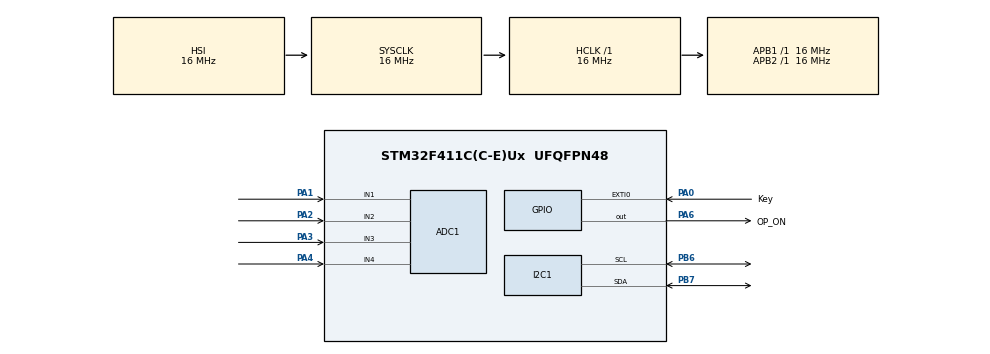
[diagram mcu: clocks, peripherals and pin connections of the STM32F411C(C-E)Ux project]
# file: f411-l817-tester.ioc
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ADC1.Channel-0\#ChannelRegularConversion=ADC_CHANNEL_1
ADC1.Channel-1\#ChannelRegularConversion=ADC_CHANNEL_2
ADC1.Channel-2\#ChannelRegularConversion=ADC_CHANNEL_3
ADC1.Channel-3\#ChannelRegularConversion=ADC_CHANNEL_4
ADC1.ContinuousConvMode=DISABLE
ADC1.DMAContinuousRequests=ENABLE
ADC1.ExternalTrigConv=ADC_EXTERNALTRIGCONV_T2_TRGO
ADC1.NbrOfConversion=4
ADC1.NbrOfConversionFlag=1
ADC1.Rank-0\#ChannelRegularConversion=1
ADC1.Rank-1\#ChannelRegularConversion=2
ADC1.Rank-2\#ChannelRegularConversion=3
ADC1.Rank-3\#ChannelRegularConversion=4
ADC1.SamplingTime-0\#ChannelRegularConversion=ADC_SAMPLETIME_56CYCLES
ADC1.SamplingTime-1\#ChannelRegularConversion=ADC_SAMPLETIME_56CYCLES
ADC1.SamplingTime-2\#ChannelRegularConversion=ADC_SAMPLETIME_56CYCLES
ADC1.SamplingTime-3\#ChannelRegularConversion=ADC_SAMPLETIME_56CYCLES
ADC1.master=1
Dma.ADC1.0.Direction=DMA_PERIPH_TO_MEMORY
Dma.ADC1.0.FIFOMode=DMA_FIFOMODE_DISABLE
Dma.ADC1.0.Instance=DMA2_Stream0
Dma.ADC1.0.MemDataAlignment=DMA_MDATAALIGN_HALFWORD
Dma.ADC1.0.MemInc=DMA_MINC_ENABLE
Dma.ADC1.0.Mode=DMA_CIRCULAR
Dma.ADC1.0.PeriphDataAlignment=DMA_PDATAALIGN_HALFWORD
Dma.ADC1.0.PeriphInc=DMA_PINC_DISABLE
Dma.ADC1.0.Priority=DMA_PRIORITY_LOW
Dma.Request0=ADC1
Mcu.Family=STM32F4
Mcu.Name=STM32F411C(C-E)Ux
Mcu.Package=UFQFPN48
NVIC.DMA2_Stream0_IRQn=true\:0\:0\:false\:false\:true\:false\:true\:true
NVIC.EXTI0_IRQn=true\:0\:0\:false\:false\:true\:true\:true\:true
NVIC.PriorityGroup=NVIC_PRIORITYGROUP_4
PA0-WKUP.GPIO_Label=Key
PA0-WKUP.GPIO_ModeDefaultEXTI=GPIO_MODE_IT_FALLING
PA0-WKUP.GPIO_PuPd=GPIO_PULLUP
PA0-WKUP.Signal=GPXTI0
PA1.Signal=ADCx_IN1
PA2.Signal=ADCx_IN2
PA3.Signal=ADCx_IN3
PA4.Signal=ADCx_IN4
PA6.GPIO_Label=OP_ON
PA6.Signal=GPIO_Output
PB6.Mode=I2C
PB6.Signal=I2C1_SCL
PB7.Mode=I2C
PB7.Signal=I2C1_SDA
PB8.GPIO_Label=PWM
PB8.Signal=S_TIM10_CH1
PC14-OSC32_IN.Mode=LSE-External-Oscillator
PC14-OSC32_IN.Signal=RCC_OSC32_IN
PC15-OSC32_OUT.Mode=LSE-External-Oscillator
PC15-OSC32_OUT.Signal=RCC_OSC32_OUT
PH0\ -\ OSC_IN.Mode=HSE-External-Oscillator
PH0\ -\ OSC_IN.Signal=RCC_OSC_IN
PH1\ -\ OSC_OUT.Mode=HSE-External-Oscillator
PH1\ -\ OSC_OUT.Signal=RCC_OSC_OUT
ProjectManager.HeapSize=0x200
ProjectManager.StackSize=0x400
ProjectManager.TargetToolchain=STM32CubeIDE
RCC.48MHZClocksFreq_Value=48000000
RCC.AHBFreq_Value=16000000
RCC.APB1Freq_Value=16000000
RCC.APB2Freq_Value=16000000
RCC.CortexFreq_Value=16000000
RCC.HSE_VALUE=25000000
RCC.HSI_VALUE=16000000
RCC.PLLM=15
RCC.PLLN=144
RCC.PLLQ=5
RCC.PLLSourceVirtual=RCC_PLLSOURCE_HSE
RCC.SYSCLKFreq_VALUE=16000000
RCC.VCOOutputFreq_Value=240000000
SH.ADCx_IN1.0=ADC1_IN1,IN1
SH.ADCx_IN2.0=ADC1_IN2,IN2
SH.ADCx_IN3.0=ADC1_IN3,IN3
SH.ADCx_IN4.0=ADC1_IN4,IN4
SH.S_TIM10_CH1.0=TIM10_CH1
TIM2.AutoReloadPreload=TIM_AUTORELOAD_PRELOAD_ENABLE
TIM2.Period=1000-1
TIM2.Prescaler=1600-1
TIM2.TIM_MasterOutputTrigger=TIM_TRGO_UPDATE
VP_TIM2_VS_ClockSourceINT.Mode=Internal
board=custom

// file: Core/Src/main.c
/* USER CODE BEGIN Header */
/**
  ******************************************************************************
  * @file           : main.c
  * @brief          : Main program body
  ******************************************************************************
  * @attention
  *
  * Copyright (c) 2026 STMicroelectronics.
  * All rights reserved.
  *
  * This software is licensed under terms that can be found in the LICENSE file
  * in the root directory of this software component.
  * If no LICENSE file comes with this software, it is provided AS-IS.
  *
  ******************************************************************************
  */
/* USER CODE END Header */
#include "main.h"
#include "adc.h"
#include "dma.h"
#include "i2c.h"
#include "tim.h"
#include "gpio.h"

/* USER CODE BEGIN Includes */

#include "ssd1306.h"
#include "measurements.h"

/* USER CODE END Includes */

/* USER CODE BEGIN PTD */

enum Mode {
	OPTOCOUPLER,
	REGULATOR
};

/* USER CODE END PTD */

/* USER CODE BEGIN PV */

volatile uint16_t adcValues[ADC_VALUE_COUNT];

volatile enum Mode mode = OPTOCOUPLER;

/* USER CODE END PV */

void SystemClock_Config(void);

int main(void)
{

  /* MCU Configuration--------------------------------------------------------*/

  /* Reset of all peripherals, Initializes the Flash interface and the Systick. */
  HAL_Init();

  /* Configure the system clock */
  SystemClock_Config();

  /* Initialize all configured peripherals */
  MX_GPIO_Init();
  MX_DMA_Init();
  MX_ADC1_Init();
  MX_I2C1_Init();
  MX_TIM2_Init();

  /* Infinite loop */
  /* USER CODE BEGIN WHILE */
  HAL_TIM_Base_Start(&htim2);
  HAL_ADC_Start_DMA(&hadc1, (uint32_t*) adcValues, ADC_VALUE_COUNT);
  ssd1306_Init();
  while (1)
  {
	  if (mode == OPTOCOUPLER) {
		  measureOptocoupler(OP_ON_GPIO_Port, OP_ON_Pin, &hadc1, adcValues);
	  	  HAL_Delay(100);
	  }
	  else {
		  measureRegulator(&hadc1, adcValues);
		  HAL_Delay(500);
	  }

    /* USER CODE END WHILE */

  }
}

void SystemClock_Config(void)
{
  RCC_OscInitTypeDef RCC_OscInitStruct = {0};
  RCC_ClkInitTypeDef RCC_ClkInitStruct = {0};

  /** Configure the main internal regulator output voltage
  */
  __HAL_RCC_PWR_CLK_ENABLE();
  __HAL_PWR_VOLTAGESCALING_CONFIG(PWR_REGULATOR_VOLTAGE_SCALE1);

  /** Initializes the RCC Oscillators according to the specified parameters
  * in the RCC_OscInitTypeDef structure.
  */
  RCC_OscInitStruct.OscillatorType = RCC_OSCILLATORTYPE_HSI;
  RCC_OscInitStruct.HSIState = RCC_HSI_ON;
  RCC_OscInitStruct.HSICalibrationValue = RCC_HSICALIBRATION_DEFAULT;
  RCC_OscInitStruct.PLL.PLLState = RCC_PLL_NONE;
  if (HAL_RCC_OscConfig(&RCC_OscInitStruct) != HAL_OK)
  {
    Error_Handler();
  }

  /** Initializes the CPU, AHB and APB buses clocks
  */
  RCC_ClkInitStruct.ClockType = RCC_CLOCKTYPE_HCLK|RCC_CLOCKTYPE_SYSCLK
                              |RCC_CLOCKTYPE_PCLK1|RCC_CLOCKTYPE_PCLK2;
  RCC_ClkInitStruct.SYSCLKSource = RCC_SYSCLKSOURCE_HSI;
  RCC_ClkInitStruct.AHBCLKDivider = RCC_SYSCLK_DIV1;
  RCC_ClkInitStruct.APB1CLKDivider = RCC_HCLK_DIV1;
  RCC_ClkInitStruct.APB2CLKDivider = RCC_HCLK_DIV1;

  if (HAL_RCC_ClockConfig(&RCC_ClkInitStruct, FLASH_LATENCY_0) != HAL_OK)
  {
    Error_Handler();
  }
}

/* USER CODE BEGIN 4 */

void HAL_GPIO_EXTI_Callback(uint16_t GPIO_Pin) {
    if (GPIO_Pin == GPIO_PIN_0) {
        static uint32_t lastInterruptTime = 0;
        uint32_t currentTime = HAL_GetTick();

        // 150ms software debounce lock
        if (currentTime - lastInterruptTime > 150) {
            if (mode == OPTOCOUPLER) {
            	mode = REGULATOR;
            }
            else {
            	mode = OPTOCOUPLER;
            }
            lastInterruptTime = currentTime;
        }
    }
}

/* USER CODE END 4 */

void Error_Handler(void)
{
  __disable_irq();
  while (1)
  {
  }
}
